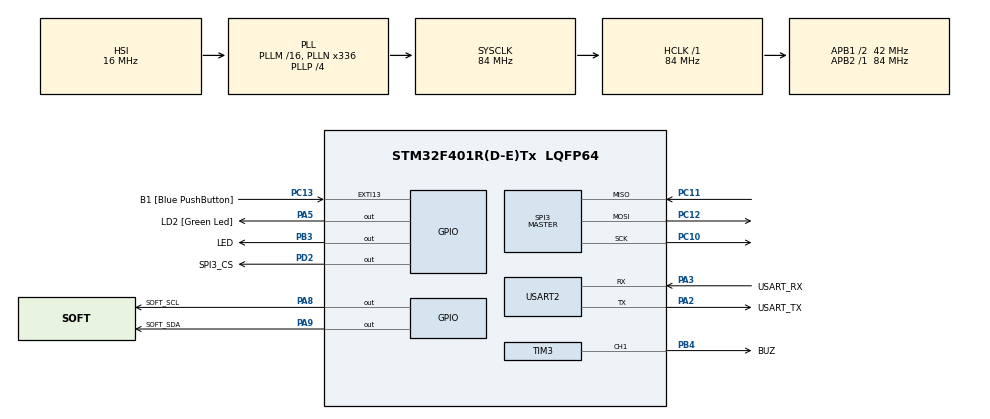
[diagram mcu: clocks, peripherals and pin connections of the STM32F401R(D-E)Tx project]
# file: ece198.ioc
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Mcu.Family=STM32F4
Mcu.Name=STM32F401R(D-E)Tx
Mcu.Package=LQFP64
NVIC.PriorityGroup=NVIC_PRIORITYGROUP_0
PA13.GPIO_Label=TMS
PA13.Mode=Serial_Wire
PA13.Signal=SYS_JTMS-SWDIO
PA14.GPIO_Label=TCK
PA14.Mode=Serial_Wire
PA14.Signal=SYS_JTCK-SWCLK
PA2.GPIO_Label=USART_TX
PA2.GPIO_Mode=GPIO_MODE_AF_PP
PA2.GPIO_PuPd=GPIO_NOPULL
PA2.GPIO_Speed=GPIO_SPEED_FREQ_LOW
PA2.Mode=Asynchronous
PA2.Signal=USART2_TX
PA3.GPIO_Label=USART_RX
PA3.GPIO_Mode=GPIO_MODE_AF_PP
PA3.GPIO_PuPd=GPIO_NOPULL
PA3.GPIO_Speed=GPIO_SPEED_FREQ_LOW
PA3.Mode=Asynchronous
PA3.Signal=USART2_RX
PA5.GPIO_Label=LD2 [Green Led]
PA5.GPIO_Mode=GPIO_MODE_OUTPUT_PP
PA5.GPIO_PuPd=GPIO_NOPULL
PA5.GPIO_Speed=GPIO_SPEED_FREQ_LOW
PA5.Signal=GPIO_Output
PA8.GPIO_Label=SOFT_SCL
PA8.GPIO_ModeDefaultOutputPP=GPIO_MODE_OUTPUT_OD
PA8.GPIO_PuPd=GPIO_PULLUP
PA8.Signal=GPIO_Output
PA9.GPIO_Label=SOFT_SDA
PA9.GPIO_ModeDefaultOutputPP=GPIO_MODE_OUTPUT_OD
PA9.GPIO_PuPd=GPIO_PULLUP
PA9.Signal=GPIO_Output
PB3.GPIO_Label=LED
PB3.Signal=GPIO_Output
PB4.GPIO_Label=BUZ
PB4.Signal=S_TIM3_CH1
PC10.Mode=Full_Duplex_Master
PC10.Signal=SPI3_SCK
PC11.Mode=Full_Duplex_Master
PC11.Signal=SPI3_MISO
PC12.Mode=Full_Duplex_Master
PC12.Signal=SPI3_MOSI
PC13-ANTI_TAMP.GPIO_Label=B1 [Blue PushButton]
PC13-ANTI_TAMP.GPIO_ModeDefaultEXTI=GPIO_MODE_IT_FALLING
PC13-ANTI_TAMP.GPIO_PuPd=GPIO_NOPULL
PC13-ANTI_TAMP.Signal=GPXTI13
PC14-OSC32_IN.Mode=LSE-External-Oscillator
PC14-OSC32_IN.Signal=RCC_OSC32_IN
PC15-OSC32_OUT.Mode=LSE-External-Oscillator
PC15-OSC32_OUT.Signal=RCC_OSC32_OUT
PD2.GPIO_Label=SPI3_CS
PD2.Signal=GPIO_Output
PH0\ -\ OSC_IN.Mode=HSE-External-Clock-Source
PH0\ -\ OSC_IN.Signal=RCC_OSC_IN
PH1\ -\ OSC_OUT.Mode=HSE-External-Clock-Source
PH1\ -\ OSC_OUT.Signal=RCC_OSC_OUT
ProjectManager.HeapSize=0x200
ProjectManager.StackSize=0x400
ProjectManager.TargetToolchain=STM32CubeIDE
RCC.48MHZClocksFreq_Value=48000000
RCC.AHBFreq_Value=84000000
RCC.APB1CLKDivider=RCC_HCLK_DIV2
RCC.APB1Freq_Value=42000000
RCC.APB1TimFreq_Value=84000000
RCC.APB2Freq_Value=84000000
RCC.APB2TimFreq_Value=84000000
RCC.CortexFreq_Value=84000000
RCC.HCLKFreq_Value=84000000
RCC.HSE_VALUE=8000000
RCC.HSI_VALUE=16000000
RCC.PLLN=336
RCC.PLLP=RCC_PLLP_DIV4
RCC.PLLQ=7
RCC.SYSCLKFreq_VALUE=84000000
RCC.SYSCLKSource=RCC_SYSCLKSOURCE_PLLCLK
RCC.VCOOutputFreq_Value=336000000
SH.S_TIM3_CH1.0=TIM3_CH1,PWM Generation1 CH1
SPI3.BaudRatePrescaler=SPI_BAUDRATEPRESCALER_128
SPI3.Direction=SPI_DIRECTION_2LINES
SPI3.Mode=SPI_MODE_MASTER
SPI3.VirtualType=VM_MASTER
TIM3.Channel-PWM\ Generation1\ CH1=TIM_CHANNEL_1
USART2.VirtualMode=VM_ASYNC
VP_FATFS_VS_Generic.Mode=User_defined
board=NUCLEO-F401RE

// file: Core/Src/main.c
/* USER CODE BEGIN Header */
/**
 ******************************************************************************
 * @file           : main.c
 * @brief          : Main program body
 ******************************************************************************
 * @attention
 *
 * Copyright (c) 2022 STMicroelectronics.
 * All rights reserved.
 *
 * This software is licensed under terms that can be found in the LICENSE file
 * in the root directory of this software component.
 * If no LICENSE file comes with this software, it is provided AS-IS.
 *
 ******************************************************************************
 */
/* USER CODE END Header */
#include "main.h"
#include "fatfs.h"

/* USER CODE BEGIN Includes */
#include <string.h>
#include <stdbool.h>
#include <stdio.h>
/* USER CODE END Includes */

/* USER CODE BEGIN PD */
#define TARGET_ADDRESS 0x58
#define I2C_READ 0x1
#define I2C_WRITE 0x0
#define INIT_AIR_QUALITY 0x2003
#define MEASURE_AIR_QUALITY 0x2008
#define GET_BASELINE 0x2015
#define SET_BASELINE 0x201e
#define SET_HUMIDITY 0x2061
#define MEASURE_TEST9 0x2032
#define GET_FEATURE_SET_VERSION 0x202f
#define MEASURE_RAW_SIGNALS 0x2050
#define GET_SERIAL_ID 0x3682

#define CO2_TRIGGER_LEVEL 1000
#define MAINTENANCE_TRIGGER 5
#define TIME_RESET 5000

#define CRC8_INIT 0xff
#define CRC8_POLYNOMIAL 0x31
/* USER CODE END PD */

SPI_HandleTypeDef hspi3;

TIM_HandleTypeDef htim3;

UART_HandleTypeDef huart2;

void SystemClock_Config(void);
static void MX_GPIO_Init(void);
static void MX_USART2_UART_Init(void);
static void MX_SPI3_Init(void);
static void MX_TIM3_Init(void);

/* USER CODE BEGIN 0 */
void I2C_Delay() {
	for (int i = 0; i < 5000; ++i)
		__NOP();
}

void SCL_nodelay(int value) {
	HAL_GPIO_WritePin(SOFT_SCL_GPIO_Port, SOFT_SCL_Pin, value ? 1 : 0);
}

void SCL(int value) {
	SCL_nodelay(value);
	I2C_Delay();
}

void SDA_nodelay(int value) {
	HAL_GPIO_WritePin(SOFT_SDA_GPIO_Port, SOFT_SDA_Pin, value ? 1 : 0);
	HAL_GPIO_WritePin(LD2_GPIO_Port, LD2_Pin, value ? 1 : 0);
}

void SDA(int value) {
	SDA_nodelay(value);
	I2C_Delay();
}

void I2C_Send_Byte(uint8_t x) {
	for (int i = 7; i >= 0; --i) {
		SDA(x & (1 << i));
		SCL(1);
		SCL(0);
		SDA_nodelay(0);
	}

	// "Read" ACK/NACK bit.
	SDA(1);
	SCL(1);
	SCL(0);
	SDA(0);
}

void I2C_Send_Short(uint16_t x) {
	I2C_Send_Byte(x >> 8);
	I2C_Send_Byte(x & 0xff);
}

void I2C_Init() {
	for (int i = 0; i < 100; ++i) {
		I2C_Delay();
	}
	SDA_nodelay(1);
	SCL(1);
}

void I2C_Start() {
	SDA(0);
	SCL(0);
}

void I2C_Write(uint16_t value) {
	I2C_Send_Byte((TARGET_ADDRESS << 1) | I2C_WRITE);
	I2C_Send_Short(value);
}

// Send an ACK condition by pulsing SCL while pulling SDA LOW.
void I2C_ACK() {
	SDA(0);
	SCL(1);
	SCL(0);
	SDA(1);
}

// Send a NACK condition by pulsing SCL while leaving SDA pulled HIGH.
void I2C_NACK() {
	SCL(1);
	SCL(0);
}

// Send the repeated START condition Sr by ensuring both pins are HIGH and then sending the START condition.
void I2C_Restart() {
	SDA_nodelay(1);
	SCL(1);
	I2C_Start();
}

// Send the STOP condition by pulling SDA followed by SCL HIGH.
void I2C_Stop() {
	SCL(0);
	SDA(0);
	SDA(1);
	SCL(1);
}

void Serial_Send(char *data) {
	size_t len = strlen(data);
	HAL_UART_Transmit(&huart2, (uint8_t*) data, len, HAL_MAX_DELAY);
}

uint8_t crc8(uint8_t *data, size_t capacity) {
	uint8_t crc = CRC8_INIT;
	for (size_t i = 0; i < capacity; ++i) {
		crc ^= data[i];
		for (int j = 0; j < 8; ++j) {
			if ((crc & (1 << 7))) {
				crc <<= 1;
				crc ^= CRC8_POLYNOMIAL;
			} else {
				crc <<= 1;
			}
		}
	}
	return crc;
}

// Reads bytes of data then reads one more byte for CRC checking.
// Data is returned in the *data parameter which is guaranteed to
// stay the same if the CRC was invalid.
unsigned int I2C_Read(size_t bytes, unsigned int *data) {
	Serial_Send("-------- BEGIN READ --------\r\n");
	I2C_Send_Byte((TARGET_ADDRESS << 1) | I2C_READ);
	SDA(1);
	unsigned int read = 0;
	for (int i = 0; i < bytes; ++i) {
		for (int bit = 0; bit < 8; ++bit) {
			SCL(1);
			if (HAL_GPIO_ReadPin(SOFT_SDA_GPIO_Port, SOFT_SDA_Pin)) {
				Serial_Send("1");
				read |= 1;
				read <<= 1;
			} else {
				Serial_Send("0");
				read <<= 1;
			}
			SCL(0);
		}
		Serial_Send(" (read) \r\n");
		I2C_ACK();
	}
	// NOTE: multiplication by 2 for some reason.
	read /= 2;

	unsigned int crc = 0;
	for (int bit = 0; bit < 8; ++bit) {
		SCL(1);
		if (HAL_GPIO_ReadPin(SOFT_SDA_GPIO_Port, SOFT_SDA_Pin)) {
			Serial_Send("1");
			crc |= 1;
			crc <<= 1;
		} else {
			Serial_Send("0");
			crc <<= 1;
		}
		SCL(0);
	}
	I2C_NACK();

	// NOTE: multiplication by 2 for some reason.
	crc /= 2;
	Serial_Send(" (crc) \r\n");

	char str[64];
	sprintf(str, "%d (value)\r\n", *data);
	Serial_Send(str);

	// NOTE: Assumes 2 bytes of data are read.
	uint8_t buf[2] = { read >> 8, read & 0xff };
	if (crc8(buf, 2) != crc) {
		Serial_Send("Bad CRC!\r\n");
		return 1;
	}

	// Only update value on valid CRC.
	*data = read;
	return 0;
}

// Controls the buzzer.
void Buzzer(unsigned int time, unsigned int co2, unsigned int badcrc) {
	if (co2 > CO2_TRIGGER_LEVEL) {
		if (time % 800 < 400) {
			__HAL_TIM_SET_COMPARE(&htim3, TIM_CHANNEL_1, htim3.Init.Period);
			HAL_GPIO_WritePin(LED_GPIO_Port, LED_Pin, 1);
		} else {
			__HAL_TIM_SET_COMPARE(&htim3, TIM_CHANNEL_1, 0);
			HAL_GPIO_WritePin(LED_GPIO_Port, LED_Pin, 0);
		}
	} else {
		if (badcrc > MAINTENANCE_TRIGGER) {
			if (time < TIME_RESET / 10 || (time > TIME_RESET / 2 && time < TIME_RESET / 2 + TIME_RESET / 10)) {
				__HAL_TIM_SET_COMPARE(&htim3, TIM_CHANNEL_1, htim3.Init.Period);
			} else {
				__HAL_TIM_SET_COMPARE(&htim3, TIM_CHANNEL_1, 0);
			}
			HAL_GPIO_WritePin(LED_GPIO_Port, LED_Pin, 0);
		} else {
			__HAL_TIM_SET_COMPARE(&htim3, TIM_CHANNEL_1, 0);
			HAL_GPIO_WritePin(LED_GPIO_Port, LED_Pin, 0);
		}
	}
}

/* USER CODE END 0 */

int main(void) {

	/* MCU Configuration--------------------------------------------------------*/

	/* Reset of all peripherals, Initializes the Flash interface and the Systick. */
	HAL_Init();

	/* Configure the system clock */
	SystemClock_Config();

	/* Initialize all configured peripherals */
	MX_GPIO_Init();
	MX_USART2_UART_Init();
	MX_SPI3_Init();
	MX_TIM3_Init();
	MX_FATFS_Init();
	/* USER CODE BEGIN 2 */
	Serial_Send("Hello, Board!\r\n");
	HAL_Delay(1000);
	Serial_Send("Attempting to mount SD card.\r\n");
	FATFS fs;
	FRESULT fresult = f_mount(&fs, "", 1);
	if (fresult != FR_OK) {
		char str[64];
		sprintf(str, "%d\r\n", fresult);
		Serial_Send(str);
		Serial_Send("Failure mounting!\r\n");
	} else {
		Serial_Send("Success mounting!\r\n");
	}

	FIL fil;
	fresult = f_open(&fil, "log.txt", FA_WRITE | FA_OPEN_APPEND | FA_CREATE_ALWAYS);
	if (fresult != FR_OK) {
		char str[64];
		sprintf(str, "%d\r\n", fresult);
		Serial_Send(str);
		Serial_Send("Failure opening!\r\n");
	} else {
		Serial_Send("Success opening!\r\n");
	}
	/* USER CODE END 2 */

	/* Infinite loop */
	/* USER CODE BEGIN WHILE */
	I2C_Init();
	I2C_Start();
	I2C_Write(INIT_AIR_QUALITY);
	I2C_Stop();

	// Delay before valid measurements.
	for (int i = 0; i < 15; ++i) {
		HAL_GPIO_WritePin(LD2_GPIO_Port, LD2_Pin, 1);
		HAL_Delay(500);
		HAL_GPIO_WritePin(LD2_GPIO_Port, LD2_Pin, 0);
		HAL_Delay(500);
	}

	unsigned int all_time = 0;
	unsigned int time = 0;
	unsigned int co2 = 400;
	unsigned int badcrc = 0;
	while (1) {
		if (time % (TIME_RESET / 10) == 0) {
			I2C_Start();
			I2C_Write(MEASURE_AIR_QUALITY);
			I2C_Restart();
			if (I2C_Read(2, &co2)) {
				++badcrc;
			} else {
				badcrc = 0;

				UINT bytesWrote;
				BYTE str[35];
				sprintf(str, "%15d,%15d\r\n", all_time, co2);
				fresult = f_write(&fil, str, 35, &bytesWrote);
				if (fresult == FR_OK) {
					Serial_Send("Wrote bytes");
				} else {
					char str[64];
					sprintf(str, "%d\r\n", fresult);
					Serial_Send(str);
					Serial_Send("Failed");
				}
			}
			I2C_Stop();
		}

		Buzzer(time, co2, badcrc);

		HAL_Delay(1);
		++time;
		++all_time;
		time %= TIME_RESET;
		if (HAL_GPIO_ReadPin(B1_GPIO_Port, B1_Pin) == GPIO_PIN_RESET) {
			Serial_Send("Goodbye!");
			for (int i = 0; i < 3; ++i) {
				HAL_GPIO_WritePin(LD2_GPIO_Port, LD2_Pin, 1);
				__HAL_TIM_SET_COMPARE(&htim3, TIM_CHANNEL_1, htim3.Init.Period);
				HAL_Delay(50);

				HAL_GPIO_WritePin(LD2_GPIO_Port, LD2_Pin, 0);
				__HAL_TIM_SET_COMPARE(&htim3, TIM_CHANNEL_1, 0);
				HAL_Delay(50);
			}
			break;
		}
	}

	f_close(&fil);
	f_mount(NULL, "", 0);
	/* USER CODE END WHILE */

}

void SystemClock_Config(void) {
	RCC_OscInitTypeDef RCC_OscInitStruct = { 0 };
	RCC_ClkInitTypeDef RCC_ClkInitStruct = { 0 };

	/** Configure the main internal regulator output voltage
	 */
	__HAL_RCC_PWR_CLK_ENABLE();
	__HAL_PWR_VOLTAGESCALING_CONFIG(PWR_REGULATOR_VOLTAGE_SCALE2);

	/** Initializes the RCC Oscillators according to the specified parameters
	 * in the RCC_OscInitTypeDef structure.
	 */
	RCC_OscInitStruct.OscillatorType = RCC_OSCILLATORTYPE_HSI;
	RCC_OscInitStruct.HSIState = RCC_HSI_ON;
	RCC_OscInitStruct.HSICalibrationValue = RCC_HSICALIBRATION_DEFAULT;
	RCC_OscInitStruct.PLL.PLLState = RCC_PLL_ON;
	RCC_OscInitStruct.PLL.PLLSource = RCC_PLLSOURCE_HSI;
	RCC_OscInitStruct.PLL.PLLM = 16;
	RCC_OscInitStruct.PLL.PLLN = 336;
	RCC_OscInitStruct.PLL.PLLP = RCC_PLLP_DIV4;
	RCC_OscInitStruct.PLL.PLLQ = 7;
	if (HAL_RCC_OscConfig(&RCC_OscInitStruct) != HAL_OK) {
		Error_Handler();
	}

	/** Initializes the CPU, AHB and APB buses clocks
	 */
	RCC_ClkInitStruct.ClockType = RCC_CLOCKTYPE_HCLK | RCC_CLOCKTYPE_SYSCLK
			| RCC_CLOCKTYPE_PCLK1 | RCC_CLOCKTYPE_PCLK2;
	RCC_ClkInitStruct.SYSCLKSource = RCC_SYSCLKSOURCE_PLLCLK;
	RCC_ClkInitStruct.AHBCLKDivider = RCC_SYSCLK_DIV1;
	RCC_ClkInitStruct.APB1CLKDivider = RCC_HCLK_DIV2;
	RCC_ClkInitStruct.APB2CLKDivider = RCC_HCLK_DIV1;

	if (HAL_RCC_ClockConfig(&RCC_ClkInitStruct, FLASH_LATENCY_2) != HAL_OK) {
		Error_Handler();
	}
}

static void MX_SPI3_Init(void) {

	/* SPI3 parameter configuration*/
	hspi3.Instance = SPI3;
	hspi3.Init.Mode = SPI_MODE_MASTER;
	hspi3.Init.Direction = SPI_DIRECTION_2LINES;
	hspi3.Init.DataSize = SPI_DATASIZE_8BIT;
	hspi3.Init.CLKPolarity = SPI_POLARITY_LOW;
	hspi3.Init.CLKPhase = SPI_PHASE_1EDGE;
	hspi3.Init.NSS = SPI_NSS_SOFT;
	hspi3.Init.BaudRatePrescaler = SPI_BAUDRATEPRESCALER_128;
	hspi3.Init.FirstBit = SPI_FIRSTBIT_MSB;
	hspi3.Init.TIMode = SPI_TIMODE_DISABLE;
	hspi3.Init.CRCCalculation = SPI_CRCCALCULATION_DISABLE;
	hspi3.Init.CRCPolynomial = 10;
	if (HAL_SPI_Init(&hspi3) != HAL_OK) {
		Error_Handler();
	}

}

static void MX_TIM3_Init(void) {

	TIM_MasterConfigTypeDef sMasterConfig = { 0 };
	TIM_OC_InitTypeDef sConfigOC = { 0 };

	htim3.Instance = TIM3;
	htim3.Init.Prescaler = 0;
	htim3.Init.CounterMode = TIM_COUNTERMODE_UP;
	htim3.Init.Period = 65535;
	htim3.Init.ClockDivision = TIM_CLOCKDIVISION_DIV1;
	htim3.Init.AutoReloadPreload = TIM_AUTORELOAD_PRELOAD_DISABLE;
	if (HAL_TIM_PWM_Init(&htim3) != HAL_OK) {
		Error_Handler();
	}
	sMasterConfig.MasterOutputTrigger = TIM_TRGO_RESET;
	sMasterConfig.MasterSlaveMode = TIM_MASTERSLAVEMODE_DISABLE;
	if (HAL_TIMEx_MasterConfigSynchronization(&htim3, &sMasterConfig)
			!= HAL_OK) {
		Error_Handler();
	}
	sConfigOC.OCMode = TIM_OCMODE_PWM1;
	sConfigOC.Pulse = 0;
	sConfigOC.OCPolarity = TIM_OCPOLARITY_HIGH;
	sConfigOC.OCFastMode = TIM_OCFAST_DISABLE;
	if (HAL_TIM_PWM_ConfigChannel(&htim3, &sConfigOC, TIM_CHANNEL_1)
			!= HAL_OK) {
		Error_Handler();
	}
	/* USER CODE BEGIN TIM3_Init 2 */
	HAL_TIM_PWM_Start(&htim3, TIM_CHANNEL_1);
	/* USER CODE END TIM3_Init 2 */
	HAL_TIM_MspPostInit(&htim3);

}

static void MX_USART2_UART_Init(void) {

	huart2.Instance = USART2;
	huart2.Init.BaudRate = 115200;
	huart2.Init.WordLength = UART_WORDLENGTH_8B;
	huart2.Init.StopBits = UART_STOPBITS_1;
	huart2.Init.Parity = UART_PARITY_NONE;
	huart2.Init.Mode = UART_MODE_TX_RX;
	huart2.Init.HwFlowCtl = UART_HWCONTROL_NONE;
	huart2.Init.OverSampling = UART_OVERSAMPLING_16;
	if (HAL_UART_Init(&huart2) != HAL_OK) {
		Error_Handler();
	}

}

static void MX_GPIO_Init(void) {
	GPIO_InitTypeDef GPIO_InitStruct = { 0 };

	/* GPIO Ports Clock Enable */
	__HAL_RCC_GPIOC_CLK_ENABLE();
	__HAL_RCC_GPIOH_CLK_ENABLE();
	__HAL_RCC_GPIOA_CLK_ENABLE();
	__HAL_RCC_GPIOD_CLK_ENABLE();
	__HAL_RCC_GPIOB_CLK_ENABLE();

	/*Configure GPIO pin Output Level */
	HAL_GPIO_WritePin(GPIOA, LD2_Pin | SOFT_SCL_Pin | SOFT_SDA_Pin,
			GPIO_PIN_RESET);

	/*Configure GPIO pin Output Level */
	HAL_GPIO_WritePin(SPI3_CS_GPIO_Port, SPI3_CS_Pin, GPIO_PIN_RESET);

	/*Configure GPIO pin Output Level */
	HAL_GPIO_WritePin(LED_GPIO_Port, LED_Pin, GPIO_PIN_RESET);

	/*Configure GPIO pin : B1_Pin */
	GPIO_InitStruct.Pin = B1_Pin;
	GPIO_InitStruct.Mode = GPIO_MODE_IT_FALLING;
	GPIO_InitStruct.Pull = GPIO_NOPULL;
	HAL_GPIO_Init(B1_GPIO_Port, &GPIO_InitStruct);

	/*Configure GPIO pin : LD2_Pin */
	GPIO_InitStruct.Pin = LD2_Pin;
	GPIO_InitStruct.Mode = GPIO_MODE_OUTPUT_PP;
	GPIO_InitStruct.Pull = GPIO_NOPULL;
	GPIO_InitStruct.Speed = GPIO_SPEED_FREQ_LOW;
	HAL_GPIO_Init(LD2_GPIO_Port, &GPIO_InitStruct);

	/*Configure GPIO pins : SOFT_SCL_Pin SOFT_SDA_Pin */
	GPIO_InitStruct.Pin = SOFT_SCL_Pin | SOFT_SDA_Pin;
	GPIO_InitStruct.Mode = GPIO_MODE_OUTPUT_OD;
	GPIO_InitStruct.Pull = GPIO_PULLUP;
	GPIO_InitStruct.Speed = GPIO_SPEED_FREQ_LOW;
	HAL_GPIO_Init(GPIOA, &GPIO_InitStruct);

	/*Configure GPIO pin : SPI3_CS_Pin */
	GPIO_InitStruct.Pin = SPI3_CS_Pin;
	GPIO_InitStruct.Mode = GPIO_MODE_OUTPUT_PP;
	GPIO_InitStruct.Pull = GPIO_NOPULL;
	GPIO_InitStruct.Speed = GPIO_SPEED_FREQ_LOW;
	HAL_GPIO_Init(SPI3_CS_GPIO_Port, &GPIO_InitStruct);

	/*Configure GPIO pin : LED_Pin */
	GPIO_InitStruct.Pin = LED_Pin;
	GPIO_InitStruct.Mode = GPIO_MODE_OUTPUT_PP;
	GPIO_InitStruct.Pull = GPIO_NOPULL;
	GPIO_InitStruct.Speed = GPIO_SPEED_FREQ_LOW;
	HAL_GPIO_Init(LED_GPIO_Port, &GPIO_InitStruct);

}

void Error_Handler(void) {
	__disable_irq();
	while (1) {
	}
}
